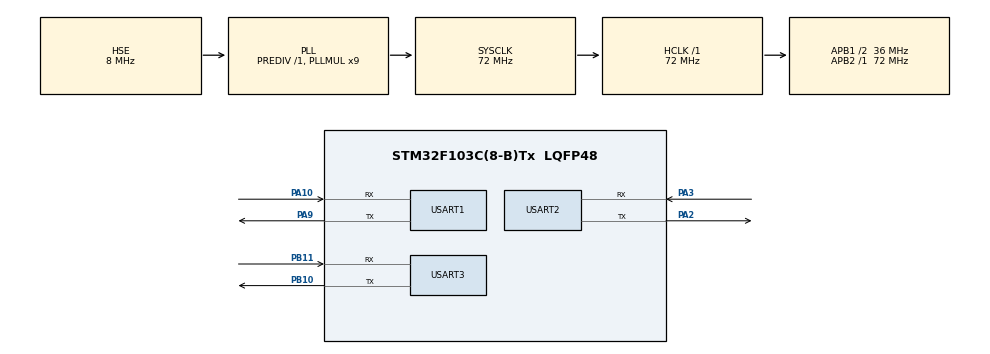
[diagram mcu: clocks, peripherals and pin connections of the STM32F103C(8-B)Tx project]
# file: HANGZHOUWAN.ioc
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Dma.Request0=USART1_RX
Dma.Request1=USART3_RX
Dma.USART1_RX.0.Direction=DMA_PERIPH_TO_MEMORY
Dma.USART1_RX.0.Instance=DMA1_Channel5
Dma.USART1_RX.0.MemDataAlignment=DMA_MDATAALIGN_BYTE
Dma.USART1_RX.0.MemInc=DMA_MINC_ENABLE
Dma.USART1_RX.0.Mode=DMA_CIRCULAR
Dma.USART1_RX.0.PeriphDataAlignment=DMA_PDATAALIGN_BYTE
Dma.USART1_RX.0.PeriphInc=DMA_PINC_DISABLE
Dma.USART1_RX.0.Priority=DMA_PRIORITY_LOW
Dma.USART3_RX.1.Direction=DMA_PERIPH_TO_MEMORY
Dma.USART3_RX.1.Instance=DMA1_Channel3
Dma.USART3_RX.1.MemDataAlignment=DMA_MDATAALIGN_BYTE
Dma.USART3_RX.1.MemInc=DMA_MINC_ENABLE
Dma.USART3_RX.1.Mode=DMA_CIRCULAR
Dma.USART3_RX.1.PeriphDataAlignment=DMA_PDATAALIGN_BYTE
Dma.USART3_RX.1.PeriphInc=DMA_PINC_DISABLE
Dma.USART3_RX.1.Priority=DMA_PRIORITY_LOW
Mcu.Family=STM32F1
Mcu.Name=STM32F103C(8-B)Tx
Mcu.Package=LQFP48
NVIC.DMA1_Channel3_IRQn=true\:0\:0\:false\:false\:true\:false\:true
NVIC.DMA1_Channel5_IRQn=true\:0\:0\:false\:false\:true\:false\:true
NVIC.PriorityGroup=NVIC_PRIORITYGROUP_4
NVIC.USART1_IRQn=true\:0\:0\:false\:true\:true\:2\:true\:true
NVIC.USART2_IRQn=true\:0\:0\:false\:true\:true\:1\:true\:true
NVIC.USART3_IRQn=true\:0\:0\:false\:true\:true\:3\:true\:true
PA10.GPIO_PuPd=GPIO_PULLUP
PA10.Mode=Asynchronous
PA10.Signal=USART1_RX
PA13.Mode=Serial_Wire
PA13.Signal=SYS_JTMS-SWDIO
PA14.Mode=Serial_Wire
PA14.Signal=SYS_JTCK-SWCLK
PA2.Mode=Asynchronous
PA2.Signal=USART2_TX
PA3.Mode=Asynchronous
PA3.Signal=USART2_RX
PA9.Mode=Asynchronous
PA9.Signal=USART1_TX
PB10.Mode=Asynchronous
PB10.Signal=USART3_TX
PB11.Mode=Asynchronous
PB11.Signal=USART3_RX
PC14-OSC32_IN.Mode=LSE-External-Oscillator
PC14-OSC32_IN.Signal=RCC_OSC32_IN
PC15-OSC32_OUT.Mode=LSE-External-Oscillator
PC15-OSC32_OUT.Signal=RCC_OSC32_OUT
PD0-OSC_IN.Mode=HSE-External-Oscillator
PD0-OSC_IN.Signal=RCC_OSC_IN
PD1-OSC_OUT.Mode=HSE-External-Oscillator
PD1-OSC_OUT.Signal=RCC_OSC_OUT
ProjectManager.HeapSize=0x200
ProjectManager.StackSize=0x400
ProjectManager.TargetToolchain=STM32CubeIDE
RCC.AHBFreq_Value=72000000
RCC.APB1CLKDivider=RCC_HCLK_DIV2
RCC.APB1Freq_Value=36000000
RCC.APB1TimFreq_Value=72000000
RCC.APB2Freq_Value=72000000
RCC.APB2TimFreq_Value=72000000
RCC.HCLKFreq_Value=72000000
RCC.PLLMUL=RCC_PLL_MUL9
RCC.PLLSourceVirtual=RCC_PLLSOURCE_HSE
RCC.SYSCLKFreq_VALUE=72000000
RCC.SYSCLKSource=RCC_SYSCLKSOURCE_PLLCLK
RCC.USBFreq_Value=72000000
USART1.VirtualMode=VM_ASYNC
USART2.VirtualMode=VM_ASYNC
USART3.VirtualMode=VM_ASYNC
board=custom

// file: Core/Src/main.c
/* USER CODE BEGIN Header */
/**

  */
/* USER CODE END Header */
#include "main.h"

UART_HandleTypeDef huart1;
UART_HandleTypeDef huart2;
UART_HandleTypeDef huart3;
DMA_HandleTypeDef hdma_usart1_rx;
DMA_HandleTypeDef hdma_usart3_rx;

/* USER CODE BEGIN PV */
uint8_t distance1_received[255];
uint8_t distance1_buff[9];
uint8_t distance1[4];//用字符串表示�?????4位距离（cm�?????
uint8_t distance1_updated=0;
uint8_t sensor_ID1[4]=" s1:";
uint8_t distance1_str[4];
uint8_t distance2_received[255];
uint8_t distance2_buff[9];
uint8_t distance2[4];//用字符串表示�?????4位距离（cm�?????
uint8_t distance2_updated=0;
uint8_t sensor_ID2[4]=" s2:";
uint8_t distance2_str[4];
/* USER CODE END PV */

void SystemClock_Config(void);
static void MX_GPIO_Init(void);
static void MX_USART1_UART_Init(void);
static void MX_DMA_Init(void);
static void MX_USART2_UART_Init(void);
static void MX_USART3_UART_Init(void);
static void MX_NVIC_Init(void);
/* USER CODE BEGIN PFP */
void distance_data_process(uint8_t* data, uint8_t* sensor_ID);
/* USER CODE END PFP */

int main(void)
{

  /* MCU Configuration--------------------------------------------------------*/

  /* Reset of all peripherals, Initializes the Flash interface and the Systick. */
  HAL_Init();

  /* Configure the system clock */
  SystemClock_Config();

  /* Initialize all configured peripherals */
  MX_GPIO_Init();

  MX_USART2_UART_Init();
  MX_DMA_Init();
  MX_USART1_UART_Init();

  MX_USART3_UART_Init();

  /* Initialize interrupts */
  MX_NVIC_Init();
  /* USER CODE BEGIN 2 */
  __HAL_UART_ENABLE_IT(&huart1, UART_IT_IDLE);
   HAL_UART_Receive_DMA(&huart1, distance1_received, 255);

  //__HAL_UART_ENABLE_IT(&huart3, UART_IT_IDLE);
  //HAL_UART_Receive_DMA(&huart3, distance2_received, 255);
  char words[10]="hello";
  /* USER CODE END 2 */

  /* Infinite loop */
  while (1)
  {

  }
}

void SystemClock_Config(void)
{
  RCC_OscInitTypeDef RCC_OscInitStruct = {0};
  RCC_ClkInitTypeDef RCC_ClkInitStruct = {0};

  /** Initializes the RCC Oscillators according to the specified parameters
  * in the RCC_OscInitTypeDef structure.
  */
  RCC_OscInitStruct.OscillatorType = RCC_OSCILLATORTYPE_HSE;
  RCC_OscInitStruct.HSEState = RCC_HSE_ON;
  RCC_OscInitStruct.HSEPredivValue = RCC_HSE_PREDIV_DIV1;
  RCC_OscInitStruct.HSIState = RCC_HSI_ON;
  RCC_OscInitStruct.PLL.PLLState = RCC_PLL_ON;
  RCC_OscInitStruct.PLL.PLLSource = RCC_PLLSOURCE_HSE;
  RCC_OscInitStruct.PLL.PLLMUL = RCC_PLL_MUL9;
  if (HAL_RCC_OscConfig(&RCC_OscInitStruct) != HAL_OK)
  {
    Error_Handler();
  }
  /** Initializes the CPU, AHB and APB buses clocks
  */
  RCC_ClkInitStruct.ClockType = RCC_CLOCKTYPE_HCLK|RCC_CLOCKTYPE_SYSCLK
                              |RCC_CLOCKTYPE_PCLK1|RCC_CLOCKTYPE_PCLK2;
  RCC_ClkInitStruct.SYSCLKSource = RCC_SYSCLKSOURCE_PLLCLK;
  RCC_ClkInitStruct.AHBCLKDivider = RCC_SYSCLK_DIV1;
  RCC_ClkInitStruct.APB1CLKDivider = RCC_HCLK_DIV2;
  RCC_ClkInitStruct.APB2CLKDivider = RCC_HCLK_DIV1;

  if (HAL_RCC_ClockConfig(&RCC_ClkInitStruct, FLASH_LATENCY_2) != HAL_OK)
  {
    Error_Handler();
  }
}

/**
  * @brief NVIC Configuration.
  * @retval None
  */
static void MX_NVIC_Init(void)
{
  /* USART2_IRQn interrupt configuration */
  HAL_NVIC_SetPriority(USART2_IRQn, 0, 0);
  HAL_NVIC_EnableIRQ(USART2_IRQn);
  /* USART1_IRQn interrupt configuration */
  HAL_NVIC_SetPriority(USART1_IRQn, 0, 0);
  HAL_NVIC_EnableIRQ(USART1_IRQn);
  /* USART3_IRQn interrupt configuration */
  HAL_NVIC_SetPriority(USART3_IRQn, 0, 0);
  HAL_NVIC_EnableIRQ(USART3_IRQn);
}

static void MX_USART1_UART_Init(void)
{

  huart1.Instance = USART1;
  huart1.Init.BaudRate = 115200;
  huart1.Init.WordLength = UART_WORDLENGTH_8B;
  huart1.Init.StopBits = UART_STOPBITS_1;
  huart1.Init.Parity = UART_PARITY_NONE;
  huart1.Init.Mode = UART_MODE_TX_RX;
  huart1.Init.HwFlowCtl = UART_HWCONTROL_NONE;
  huart1.Init.OverSampling = UART_OVERSAMPLING_16;
  if (HAL_UART_Init(&huart1) != HAL_OK)
  {
    Error_Handler();
  }

}

static void MX_USART2_UART_Init(void)
{

  huart2.Instance = USART2;
  huart2.Init.BaudRate = 115200;
  huart2.Init.WordLength = UART_WORDLENGTH_8B;
  huart2.Init.StopBits = UART_STOPBITS_1;
  huart2.Init.Parity = UART_PARITY_NONE;
  huart2.Init.Mode = UART_MODE_TX_RX;
  huart2.Init.HwFlowCtl = UART_HWCONTROL_NONE;
  huart2.Init.OverSampling = UART_OVERSAMPLING_16;
  if (HAL_UART_Init(&huart2) != HAL_OK)
  {
    Error_Handler();
  }

}

static void MX_USART3_UART_Init(void)
{

  huart3.Instance = USART3;
  huart3.Init.BaudRate = 115200;
  huart3.Init.WordLength = UART_WORDLENGTH_8B;
  huart3.Init.StopBits = UART_STOPBITS_1;
  huart3.Init.Parity = UART_PARITY_NONE;
  huart3.Init.Mode = UART_MODE_TX_RX;
  huart3.Init.HwFlowCtl = UART_HWCONTROL_NONE;
  huart3.Init.OverSampling = UART_OVERSAMPLING_16;
  if (HAL_UART_Init(&huart3) != HAL_OK)
  {
    Error_Handler();
  }

}

static void MX_DMA_Init(void)
{

  /* DMA controller clock enable */
  __HAL_RCC_DMA1_CLK_ENABLE();

  /* DMA interrupt init */
  /* DMA1_Channel3_IRQn interrupt configuration */
  HAL_NVIC_SetPriority(DMA1_Channel3_IRQn, 0, 0);
  HAL_NVIC_EnableIRQ(DMA1_Channel3_IRQn);
  /* DMA1_Channel5_IRQn interrupt configuration */
  HAL_NVIC_SetPriority(DMA1_Channel5_IRQn, 0, 0);
  HAL_NVIC_EnableIRQ(DMA1_Channel5_IRQn);

}

static void MX_GPIO_Init(void)
{

  /* GPIO Ports Clock Enable */
  __HAL_RCC_GPIOC_CLK_ENABLE();
  __HAL_RCC_GPIOD_CLK_ENABLE();
  __HAL_RCC_GPIOA_CLK_ENABLE();
  __HAL_RCC_GPIOB_CLK_ENABLE();

}

/* USER CODE BEGIN 4 */
void USAR_UART_IDLECallback(UART_HandleTypeDef *huart)
{
	// 停止本次DMA传输
	HAL_UART_DMAStop(huart);
	// 计算接收到的数据长度
	uint8_t data_length  = 255 - __HAL_DMA_GET_COUNTER(&hdma_usart1_rx);
	/*if(distance1_updated==1)
	{
		memset(distance1_received,1,255);
		// 重启�?????始DMA传输 每次255字节数据
		HAL_UART_Receive_DMA(&huart1, distance1_received, 255);
		return;
	}*/
	uint8_t* this_buff;
	uint8_t* this_received;
	uint8_t* next_received;
	uint8_t* this_ID;
	uint8_t* is_updated;
	if(huart==&huart1)
	{
		this_buff=distance1_buff;
		this_ID=sensor_ID1;
		this_received=distance1_received;
		next_received=distance2_received;
		is_updated=&distance1_updated;
	}
	else if(huart==&huart3)
	{
		this_buff=distance2_buff;
		this_ID=sensor_ID2;
		this_received=distance2_received;
		next_received=distance1_received;
		is_updated=&distance2_updated;
	}
	HAL_UART_Transmit(&huart2, this_ID, 4, 0x200);
	if(*is_updated==0)
	{
		if((data_length==9))
			{
				memcpy(this_buff, this_received,9);
				*is_updated=1;
				HAL_UART_Transmit(&huart2, this_ID, 4, 0x200);
				distance_data_process(this_buff, this_ID);
			}
			else
			{
				HAL_UART_Receive_DMA(huart, (uint8_t*)this_received, 255);
				return;
			}
	}

	memset(this_received, 255, 255);
	__HAL_UART_DISABLE_IT(huart, UART_IT_IDLE);
	HAL_UART_Receive_DMA(huart, (uint8_t*)this_received, 255);
	huart=((huart==&huart1)?&huart2:&huart1);
	__HAL_UART_ENABLE_IT(huart, UART_IT_IDLE);

	//HAL_UART_Receive_DMA(huart, (uint8_t*)next_received, 255);

	/*
	if(data_length==9)
	{
		memcpy(distance1_buff, distance1_received, 9);
		distance_data_process(distance1_buff, sensor_ID1);
		uint8_t zero=255;
		//HAL_UART_Transmit(&huart2, &zero, 1, 0x200);
		//HAL_UART_Transmit(&huart2, distance1_received, data_length, 0x200);
		distance1_updated=0;
	}
	// 重启�?????始DMA传输 每次255字节数据
	memset(distance1_received,255,255);
	HAL_UART_Receive_DMA(&huart1, (uint8_t*)distance1_received, 255);
	*/
}

void distance_data_process(uint8_t* data, uint8_t* sensor_ID)
{
	uint16_t distance=0;
	uint8_t distance_str[4]="9999";
	uint8_t endl[2]="\r\n";
	uint8_t failed[6]="failed";
	distance+=*(data+3);
	distance*=256;
	distance+=*(data+2);
	if(distance!=0xffff)
	{
		for(int8_t i=4; i>0; i--)
		{
			distance_str[i-1]=(distance%10)+48;
			distance/=10;
		}
	}
	if(sensor_ID==sensor_ID1)
	{
		memcpy(distance1_str, distance_str, 4);
	}
	else if(sensor_ID==sensor_ID2)
	{
		memcpy(distance2_str, distance_str, 4);
	}

	if(distance1_updated*distance2_updated!=0)
	{
		distance1_updated=0;
		distance2_updated=0;
		HAL_UART_Transmit(&huart2, sensor_ID1, 4, 0x200);
		HAL_UART_Transmit(&huart2, distance1_str, 4, 0x200);
		HAL_UART_Transmit(&huart2, endl, 2, 0x200);
		HAL_UART_Transmit(&huart2, sensor_ID2, 4, 0x200);
		HAL_UART_Transmit(&huart2, distance2_str, 4, 0x200);
	}
	else
	{
		//HAL_UART_Transmit(&huart2, failed, 6, 0x200);
	}

}
/* USER CODE END 4 */

void Error_Handler(void)
{
  __disable_irq();
  while (1)
  {
  }
}

/************************ (C) COPYRIGHT STMicroelectronics *****END OF FILE****/
